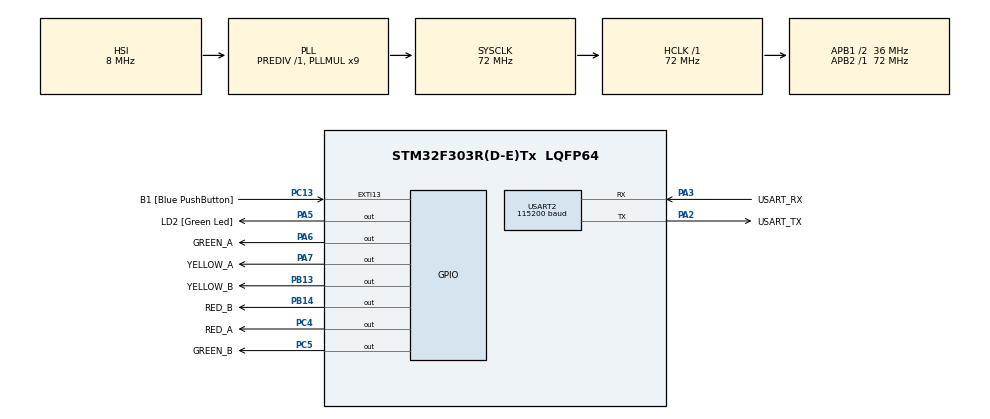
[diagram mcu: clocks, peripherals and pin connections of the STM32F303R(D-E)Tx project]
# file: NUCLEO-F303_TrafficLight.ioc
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Mcu.Family=STM32F3
Mcu.Name=STM32F303R(D-E)Tx
Mcu.Package=LQFP64
NVIC.EXTI15_10_IRQn=true\:0\:0\:false\:false\:true\:true\:true\:true
NVIC.PriorityGroup=NVIC_PRIORITYGROUP_0
PA13.GPIO_Label=TMS
PA13.Mode=Serial_Wire
PA13.Signal=SYS_JTMS-SWDIO
PA14.GPIO_Label=TCK
PA14.Mode=Serial_Wire
PA14.Signal=SYS_JTCK-SWCLK
PA2.GPIO_Label=USART_TX
PA2.GPIO_Mode=GPIO_MODE_AF_PP
PA2.GPIO_PuPd=GPIO_NOPULL
PA2.GPIO_Speed=GPIO_SPEED_FREQ_LOW
PA2.Mode=Asynchronous
PA2.Signal=USART2_TX
PA3.GPIO_Label=USART_RX
PA3.GPIO_Mode=GPIO_MODE_AF_PP
PA3.GPIO_PuPd=GPIO_NOPULL
PA3.GPIO_Speed=GPIO_SPEED_FREQ_LOW
PA3.Mode=Asynchronous
PA3.Signal=USART2_RX
PA5.GPIO_Label=LD2 [Green Led]
PA5.GPIO_Mode=GPIO_MODE_OUTPUT_PP
PA5.GPIO_PuPd=GPIO_NOPULL
PA5.GPIO_Speed=GPIO_SPEED_FREQ_LOW
PA5.Signal=GPIO_Output
PA6.GPIO_Label=GREEN_A
PA6.Signal=GPIO_Output
PA7.GPIO_Label=YELLOW_A
PA7.Signal=GPIO_Output
PB13.GPIO_Label=YELLOW_B
PB13.Signal=GPIO_Output
PB14.GPIO_Label=RED_B
PB14.Signal=GPIO_Output
PB3.GPIO_Label=SWO
PB3.Signal=SYS_JTDO-TRACESWO
PC13.GPIO_Label=B1 [Blue PushButton]
PC13.GPIO_ModeDefaultEXTI=GPIO_MODE_IT_FALLING
PC13.Signal=GPXTI13
PC14-OSC32_IN.Mode=LSE-External-Oscillator
PC14-OSC32_IN.Signal=RCC_OSC32_IN
PC15-OSC32_OUT.Mode=LSE-External-Oscillator
PC15-OSC32_OUT.Signal=RCC_OSC32_OUT
PC4.GPIO_Label=RED_A
PC4.Signal=GPIO_Output
PC5.GPIO_Label=GREEN_B
PC5.Signal=GPIO_Output
PF0-OSC_IN.Mode=HSE-External-Clock-Source
PF0-OSC_IN.Signal=RCC_OSC_IN
PF1-OSC_OUT.Signal=RCC_OSC_OUT
ProjectManager.HeapSize=0x200
ProjectManager.StackSize=0x400
ProjectManager.TargetToolchain=CMake
RCC.AHBFreq_Value=72000000
RCC.APB1CLKDivider=RCC_HCLK_DIV2
RCC.APB1Freq_Value=36000000
RCC.APB1TimFreq_Value=72000000
RCC.APB2Freq_Value=72000000
RCC.APB2TimFreq_Value=72000000
RCC.CortexFreq_Value=72000000
RCC.HCLKFreq_Value=72000000
RCC.HSE_VALUE=8000000
RCC.HSI_VALUE=8000000
RCC.PLLM=8
RCC.PLLMUL=RCC_PLL_MUL9
RCC.PLLN=336
RCC.PLLP=RCC_PLLP_DIV4
RCC.PLLQ=7
RCC.RCC_PLLsource_Clock_Source_FROM_HSE=RCC_HSE_PREDIV_DIV2
RCC.SYSCLKFreq_VALUE=72000000
RCC.SYSCLKSourceVirtual=RCC_SYSCLKSOURCE_PLLCLK
RCC.USBFreq_Value=72000000
USART2.BaudRate=115200
USART2.VirtualMode-Asynchronous=VM_ASYNC
board=NUCLEO-F303RE

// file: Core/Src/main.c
/* USER CODE BEGIN Header */
/**
  ******************************************************************************
  * @file           : main.c
  * @brief          : Main program body
  ******************************************************************************
  * @attention
  *
  * Copyright (c) 2026 STMicroelectronics.
  * All rights reserved.
  *
  * This software is licensed under terms that can be found in the LICENSE file
  * in the root directory of this software component.
  * If no LICENSE file comes with this software, it is provided AS-IS.
  *
  ******************************************************************************
  */
/* USER CODE END Header */
#include "main.h"

/* USER CODE BEGIN PTD */
typedef enum
{
    STATE_GREEN_A_RED_B,
    STATE_YELLOW_A_RED_B,
    STATE_ALL_RED_1,
    STATE_RED_A_GREEN_B,
    STATE_RED_A_YELLOW_B,
    STATE_ALL_RED_2
} TrafficState_TypeDef;
/* USER CODE END PTD */

/* USER CODE BEGIN PD */
#define DURATION_GREEN_A        10000U // 10 segundos
#define DURATION_GREEN_A_MIN    4000U  // Mínimo de verde en Calle A antes de atender peaton
#define DURATION_YELLOW_A       3000U  // 3 segundos
#define DURATION_GREEN_B        7000U  // 7 segundos
#define DURATION_YELLOW_B       3000U  // 3 segundos
#define DURATION_ALL_RED        1500U  // 1.5 segundos
/* USER CODE END PD */

UART_HandleTypeDef huart2;

/* USER CODE BEGIN PV */
TrafficState_TypeDef currentState = STATE_GREEN_A_RED_B;
uint32_t lastStateChangeTick = 0;
volatile uint8_t pedestrianRequest = 0;
/* USER CODE END PV */

void SystemClock_Config(void);
static void MX_GPIO_Init(void);
static void MX_USART2_UART_Init(void);
/* USER CODE BEGIN PFP */
void Set_Traffic_Lights(uint8_t redA, uint8_t yellowA, uint8_t greenA, uint8_t redB, uint8_t yellowB, uint8_t greenB);
void Process_Traffic_FSM(void);
/* USER CODE END PFP */

int main(void)
{

  /* MCU Configuration--------------------------------------------------------*/

  /* Reset of all peripherals, Initializes the Flash interface and the Systick. */
  HAL_Init();

  /* Configure the system clock */
  SystemClock_Config();

  /* Initialize all configured peripherals */
  MX_GPIO_Init();
  MX_USART2_UART_Init();
  /* USER CODE BEGIN 2 */
  lastStateChangeTick = HAL_GetTick();
  /* USER CODE END 2 */

  /* Infinite loop */
  /* USER CODE BEGIN WHILE */
  while (1)
  {
    Process_Traffic_FSM();
    /* USER CODE END WHILE */

  }
}

void SystemClock_Config(void)
{
  RCC_OscInitTypeDef RCC_OscInitStruct = {0};
  RCC_ClkInitTypeDef RCC_ClkInitStruct = {0};
  RCC_PeriphCLKInitTypeDef PeriphClkInit = {0};

  /** Initializes the RCC Oscillators according to the specified parameters
  * in the RCC_OscInitTypeDef structure.
  */
  RCC_OscInitStruct.OscillatorType = RCC_OSCILLATORTYPE_HSI;
  RCC_OscInitStruct.HSIState = RCC_HSI_ON;
  RCC_OscInitStruct.HSICalibrationValue = RCC_HSICALIBRATION_DEFAULT;
  RCC_OscInitStruct.PLL.PLLState = RCC_PLL_ON;
  RCC_OscInitStruct.PLL.PLLSource = RCC_PLLSOURCE_HSI;
  RCC_OscInitStruct.PLL.PLLMUL = RCC_PLL_MUL9;
  RCC_OscInitStruct.PLL.PREDIV = RCC_PREDIV_DIV1;
  if (HAL_RCC_OscConfig(&RCC_OscInitStruct) != HAL_OK)
  {
    Error_Handler();
  }

  /** Initializes the CPU, AHB and APB buses clocks
  */
  RCC_ClkInitStruct.ClockType = RCC_CLOCKTYPE_HCLK|RCC_CLOCKTYPE_SYSCLK
                              |RCC_CLOCKTYPE_PCLK1|RCC_CLOCKTYPE_PCLK2;
  RCC_ClkInitStruct.SYSCLKSource = RCC_SYSCLKSOURCE_PLLCLK;
  RCC_ClkInitStruct.AHBCLKDivider = RCC_SYSCLK_DIV1;
  RCC_ClkInitStruct.APB1CLKDivider = RCC_HCLK_DIV2;
  RCC_ClkInitStruct.APB2CLKDivider = RCC_HCLK_DIV1;

  if (HAL_RCC_ClockConfig(&RCC_ClkInitStruct, FLASH_LATENCY_2) != HAL_OK)
  {
    Error_Handler();
  }
  PeriphClkInit.PeriphClockSelection = RCC_PERIPHCLK_USART2;
  PeriphClkInit.Usart2ClockSelection = RCC_USART2CLKSOURCE_PCLK1;
  if (HAL_RCCEx_PeriphCLKConfig(&PeriphClkInit) != HAL_OK)
  {
    Error_Handler();
  }
}

static void MX_USART2_UART_Init(void)
{

  huart2.Instance = USART2;
  huart2.Init.BaudRate = 115200;
  huart2.Init.WordLength = UART_WORDLENGTH_8B;
  huart2.Init.StopBits = UART_STOPBITS_1;
  huart2.Init.Parity = UART_PARITY_NONE;
  huart2.Init.Mode = UART_MODE_TX_RX;
  huart2.Init.HwFlowCtl = UART_HWCONTROL_NONE;
  huart2.Init.OverSampling = UART_OVERSAMPLING_16;
  huart2.Init.OneBitSampling = UART_ONE_BIT_SAMPLE_DISABLE;
  huart2.AdvancedInit.AdvFeatureInit = UART_ADVFEATURE_NO_INIT;
  if (HAL_UART_Init(&huart2) != HAL_OK)
  {
    Error_Handler();
  }

}

static void MX_GPIO_Init(void)
{
  GPIO_InitTypeDef GPIO_InitStruct = {0};

  /* GPIO Ports Clock Enable */
  __HAL_RCC_GPIOC_CLK_ENABLE();
  __HAL_RCC_GPIOF_CLK_ENABLE();
  __HAL_RCC_GPIOA_CLK_ENABLE();
  __HAL_RCC_GPIOB_CLK_ENABLE();

  /*Configure GPIO pin Output Level */
  HAL_GPIO_WritePin(GPIOA, LD2_Pin|GREEN_A_Pin|YELLOW_A_Pin, GPIO_PIN_RESET);

  /*Configure GPIO pin Output Level */
  HAL_GPIO_WritePin(GPIOC, RED_A_Pin|GREEN_B_Pin, GPIO_PIN_RESET);

  /*Configure GPIO pin Output Level */
  HAL_GPIO_WritePin(GPIOB, YELLOW_B_Pin|RED_B_Pin, GPIO_PIN_RESET);

  /*Configure GPIO pin : B1_Pin */
  GPIO_InitStruct.Pin = B1_Pin;
  GPIO_InitStruct.Mode = GPIO_MODE_IT_FALLING;
  GPIO_InitStruct.Pull = GPIO_NOPULL;
  HAL_GPIO_Init(B1_GPIO_Port, &GPIO_InitStruct);

  /*Configure GPIO pins : LD2_Pin GREEN_A_Pin YELLOW_A_Pin */
  GPIO_InitStruct.Pin = LD2_Pin|GREEN_A_Pin|YELLOW_A_Pin;
  GPIO_InitStruct.Mode = GPIO_MODE_OUTPUT_PP;
  GPIO_InitStruct.Pull = GPIO_NOPULL;
  GPIO_InitStruct.Speed = GPIO_SPEED_FREQ_LOW;
  HAL_GPIO_Init(GPIOA, &GPIO_InitStruct);

  /*Configure GPIO pins : RED_A_Pin GREEN_B_Pin */
  GPIO_InitStruct.Pin = RED_A_Pin|GREEN_B_Pin;
  GPIO_InitStruct.Mode = GPIO_MODE_OUTPUT_PP;
  GPIO_InitStruct.Pull = GPIO_NOPULL;
  GPIO_InitStruct.Speed = GPIO_SPEED_FREQ_LOW;
  HAL_GPIO_Init(GPIOC, &GPIO_InitStruct);

  /*Configure GPIO pins : YELLOW_B_Pin RED_B_Pin */
  GPIO_InitStruct.Pin = YELLOW_B_Pin|RED_B_Pin;
  GPIO_InitStruct.Mode = GPIO_MODE_OUTPUT_PP;
  GPIO_InitStruct.Pull = GPIO_NOPULL;
  GPIO_InitStruct.Speed = GPIO_SPEED_FREQ_LOW;
  HAL_GPIO_Init(GPIOB, &GPIO_InitStruct);

  /* EXTI interrupt init*/
  HAL_NVIC_SetPriority(EXTI15_10_IRQn, 0, 0);
  HAL_NVIC_EnableIRQ(EXTI15_10_IRQn);

}

/* USER CODE BEGIN 4 */
void Set_Traffic_Lights(uint8_t redA, uint8_t yellowA, uint8_t greenA, uint8_t redB, uint8_t yellowB, uint8_t greenB)
{
    HAL_GPIO_WritePin(GREEN_A_GPIO_Port, GREEN_A_Pin, greenA    ? GPIO_PIN_SET : GPIO_PIN_RESET);
    HAL_GPIO_WritePin(YELLOW_A_GPIO_Port, YELLOW_A_Pin, yellowA ? GPIO_PIN_SET : GPIO_PIN_RESET);
    HAL_GPIO_WritePin(RED_A_GPIO_Port, RED_A_Pin, redA          ? GPIO_PIN_SET : GPIO_PIN_RESET);
    HAL_GPIO_WritePin(GREEN_B_GPIO_Port, GREEN_B_Pin, greenB    ? GPIO_PIN_SET : GPIO_PIN_RESET);
    HAL_GPIO_WritePin(YELLOW_B_GPIO_Port, YELLOW_B_Pin, yellowB ? GPIO_PIN_SET : GPIO_PIN_RESET);
    HAL_GPIO_WritePin(RED_B_GPIO_Port, RED_B_Pin, redB          ? GPIO_PIN_SET : GPIO_PIN_RESET);
}

void Process_Traffic_FSM(void)
{
    uint32_t currentTick = HAL_GetTick();
    uint32_t elapsedTime = currentTick - lastStateChangeTick;

    switch (currentState)
    {
        case STATE_GREEN_A_RED_B:
            Set_Traffic_Lights(0, 0, 1, 1, 0, 0); // A: Verde, B: Rojo

            /* Prioridad Peatonal: Si presionan el botón y ya transcurrió el
               tiempo mínimo de verde (4s), forzamos el cambio a amarillo */
            if (pedestrianRequest && (elapsedTime >= DURATION_GREEN_A_MIN))
            {
                currentState = STATE_YELLOW_A_RED_B;
                lastStateChangeTick = currentTick;
            }
            /* Transición por tiempo regular (10s) */
            else if (elapsedTime >= DURATION_GREEN_A)
            {
                currentState = STATE_YELLOW_A_RED_B;
                lastStateChangeTick = currentTick;
            }
            break;
        case STATE_YELLOW_A_RED_B:
            Set_Traffic_Lights(0, 1, 0, 1, 0, 0); // A: Amarillo, B: Rojo
            if (elapsedTime >= DURATION_YELLOW_A)
            {
                currentState = STATE_ALL_RED_1;
                lastStateChangeTick = currentTick;
            }
            break;
        case STATE_ALL_RED_1:
            Set_Traffic_Lights(1, 0, 0, 1, 0, 0); // A: Rojo, B: Rojo
            if (elapsedTime >= DURATION_ALL_RED)
            {
                currentState = STATE_RED_A_GREEN_B;
                lastStateChangeTick = currentTick;
                // El peatón ya puede cruzar en esta fase, limpiamos la bandera
                pedestrianRequest = 0;
            }
            break;
        case STATE_RED_A_GREEN_B:
            Set_Traffic_Lights(1, 0, 0, 0, 0, 1); // A: Rojo, B: Verde
            if (elapsedTime >= DURATION_GREEN_B)
            {
                currentState = STATE_RED_A_YELLOW_B;
                lastStateChangeTick = currentTick;
            }
            break;
        case STATE_RED_A_YELLOW_B:
            Set_Traffic_Lights(1, 0, 0, 0, 1, 0); // A: Rojo, B: Amarillo
            if (elapsedTime >= DURATION_YELLOW_B)
            {
                currentState = STATE_ALL_RED_2;
                lastStateChangeTick = currentTick;
            }
            break;
        case STATE_ALL_RED_2:
            Set_Traffic_Lights(1, 0, 0, 1, 0, 0); // A: Rojo, B: Rojo
            if (elapsedTime >= DURATION_ALL_RED)
            {
                currentState = STATE_GREEN_A_RED_B;
                lastStateChangeTick = currentTick;
                pedestrianRequest = 0;
            }
            break;
        default:
            currentState = STATE_GREEN_A_RED_B;
            lastStateChangeTick = currentTick;
            break;
    }
}

void HAL_GPIO_EXTI_Callback(uint16_t GPIO_Pin)
{
    if (GPIO_Pin == B1_Pin)
    {
        static uint32_t lastInterruptTick = 0;
        uint32_t currentInterruptTick = HAL_GetTick();
        /* Debounce por software: evita falsos disparos por ruido eléctrico (250 ms) */
        if ((currentInterruptTick - lastInterruptTick) > 250U)
        {
            pedestrianRequest = 1; // Registra la solicitud
        }
        lastInterruptTick = currentInterruptTick;
    }
}
/* USER CODE END 4 */

void Error_Handler(void)
{
  __disable_irq();
  while (1)
  {
  }
}
